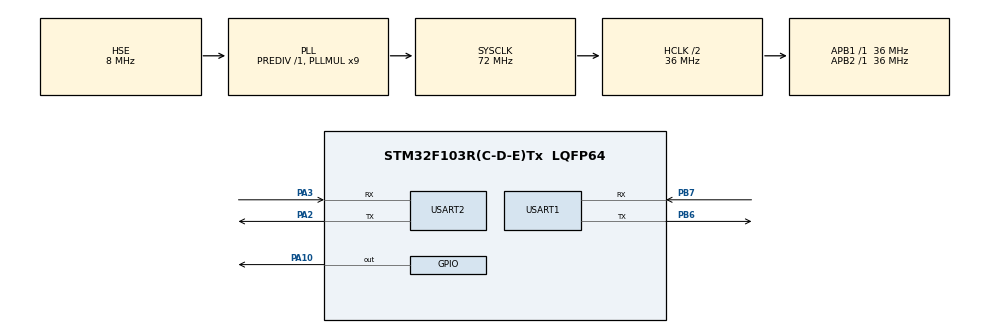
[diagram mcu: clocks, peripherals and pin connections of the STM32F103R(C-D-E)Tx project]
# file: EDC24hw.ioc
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Dma.Request0=USART1_RX
Dma.USART1_RX.0.Direction=DMA_PERIPH_TO_MEMORY
Dma.USART1_RX.0.Instance=DMA1_Channel5
Dma.USART1_RX.0.MemDataAlignment=DMA_MDATAALIGN_BYTE
Dma.USART1_RX.0.MemInc=DMA_MINC_ENABLE
Dma.USART1_RX.0.Mode=DMA_NORMAL
Dma.USART1_RX.0.PeriphDataAlignment=DMA_PDATAALIGN_BYTE
Dma.USART1_RX.0.PeriphInc=DMA_PINC_DISABLE
Dma.USART1_RX.0.Priority=DMA_PRIORITY_LOW
Mcu.Family=STM32F1
Mcu.Name=STM32F103R(C-D-E)Tx
Mcu.Package=LQFP64
NVIC.DMA1_Channel5_IRQn=true\:0\:0\:false\:false\:true\:false\:true\:true
NVIC.PriorityGroup=NVIC_PRIORITYGROUP_4
NVIC.USART1_IRQn=true\:0\:0\:false\:false\:true\:true\:true\:true
NVIC.USART2_IRQn=true\:0\:0\:false\:false\:true\:true\:true\:true
PA10.Signal=GPIO_Output
PA13.Mode=Serial_Wire
PA13.Signal=SYS_JTMS-SWDIO
PA14.Mode=Serial_Wire
PA14.Signal=SYS_JTCK-SWCLK
PA2.Mode=Asynchronous
PA2.Signal=USART2_TX
PA3.Mode=Asynchronous
PA3.Signal=USART2_RX
PB6.Mode=Asynchronous
PB6.Signal=USART1_TX
PB7.Mode=Asynchronous
PB7.Signal=USART1_RX
PD0-OSC_IN.Mode=HSE-External-Oscillator
PD0-OSC_IN.Signal=RCC_OSC_IN
PD1-OSC_OUT.Mode=HSE-External-Oscillator
PD1-OSC_OUT.Signal=RCC_OSC_OUT
ProjectManager.HeapSize=0x200
ProjectManager.StackSize=0x400
ProjectManager.TargetToolchain=MDK-ARM V5.32
RCC.AHBCLKDivider=RCC_SYSCLK_DIV2
RCC.AHBFreq_Value=36000000
RCC.APB1Freq_Value=36000000
RCC.APB1TimFreq_Value=36000000
RCC.APB2Freq_Value=36000000
RCC.APB2TimFreq_Value=36000000
RCC.HCLKFreq_Value=36000000
RCC.PLLMUL=RCC_PLL_MUL9
RCC.PLLSourceVirtual=RCC_PLLSOURCE_HSE
RCC.SYSCLKFreq_VALUE=72000000
RCC.SYSCLKSource=RCC_SYSCLKSOURCE_PLLCLK
RCC.USBFreq_Value=72000000
USART1.VirtualMode=VM_ASYNC
USART2.VirtualMode=VM_ASYNC
board=custom

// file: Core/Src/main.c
/* USER CODE BEGIN Header */
/**
  ******************************************************************************
  * @file           : main.c
  * @brief          : Main program body
  ******************************************************************************
  * @attention
  *
  * Copyright (c) 2023 STMicroelectronics.
  * All rights reserved.
  *
  * This software is licensed under terms that can be found in the LICENSE file
  * in the root directory of this software component.
  * If no LICENSE file comes with this software, it is provided AS-IS.
  *
  ******************************************************************************
  */
/* USER CODE END Header */
#include "main.h"
#include "dma.h"
#include "usart.h"
#include "gpio.h"

/* USER CODE BEGIN Includes */
#include <stdlib.h>
/* USER CODE END Includes */

/* USER CODE BEGIN PV */
uint8_t u2_RX_Buf[MAX_LEN];
uint8_t u2_RX_ReceiveBit;
int rx_len=0;
/* USER CODE END PV */

void SystemClock_Config(void);

/* USER CODE BEGIN 0 */
void jy62_Init(UART_HandleTypeDef* huart);
/* USER CODE END 0 */

int main(void)
{

  /* MCU Configuration--------------------------------------------------------*/

  /* Reset of all peripherals, Initializes the Flash interface and the Systick. */
  HAL_Init();

  /* Configure the system clock */
  SystemClock_Config();

  /* Initialize all configured peripherals */
  MX_GPIO_Init();
  MX_DMA_Init();
  MX_USART1_UART_Init();
  MX_USART2_UART_Init();
  /* USER CODE BEGIN 2 */
	HAL_UART_Receive_DMA(&huart1,u2_RX_Buf,RX_BUF_LEN);
  /* USER CODE END 2 */

  /* Infinite loop */
  /* USER CODE BEGIN WHILE */
	HAL_Delay(1000);
	srand(HAL_GetTick());
	while (1)
  {
    /* USER CODE END WHILE */

    /* USER CODE BEGIN 3 */
		uint8_t a=rand()%100;
		uint8_t b=rand()%100;
		uint8_t c=rand()%100;
		uint8_t d=rand()%100;
		u2_printf("A = (%d, %d)\n",a,b);
		u2_printf("B = (%d, %d)\n",c,d);
		uint8_t buf[4];
		buf[0]=a;
		buf[1]=b;
		buf[2]=c;
		buf[3]=d;
		HAL_UART_Transmit(&huart1, buf, 4, HAL_MAX_DELAY);
		HAL_Delay(3000);
  }
  /* USER CODE END 3 */
}

void SystemClock_Config(void)
{
  RCC_OscInitTypeDef RCC_OscInitStruct = {0};
  RCC_ClkInitTypeDef RCC_ClkInitStruct = {0};

  /** Initializes the RCC Oscillators according to the specified parameters
  * in the RCC_OscInitTypeDef structure.
  */
  RCC_OscInitStruct.OscillatorType = RCC_OSCILLATORTYPE_HSE;
  RCC_OscInitStruct.HSEState = RCC_HSE_ON;
  RCC_OscInitStruct.HSEPredivValue = RCC_HSE_PREDIV_DIV1;
  RCC_OscInitStruct.HSIState = RCC_HSI_ON;
  RCC_OscInitStruct.PLL.PLLState = RCC_PLL_ON;
  RCC_OscInitStruct.PLL.PLLSource = RCC_PLLSOURCE_HSE;
  RCC_OscInitStruct.PLL.PLLMUL = RCC_PLL_MUL9;
  if (HAL_RCC_OscConfig(&RCC_OscInitStruct) != HAL_OK)
  {
    Error_Handler();
  }

  /** Initializes the CPU, AHB and APB buses clocks
  */
  RCC_ClkInitStruct.ClockType = RCC_CLOCKTYPE_HCLK|RCC_CLOCKTYPE_SYSCLK
                              |RCC_CLOCKTYPE_PCLK1|RCC_CLOCKTYPE_PCLK2;
  RCC_ClkInitStruct.SYSCLKSource = RCC_SYSCLKSOURCE_PLLCLK;
  RCC_ClkInitStruct.AHBCLKDivider = RCC_SYSCLK_DIV2;
  RCC_ClkInitStruct.APB1CLKDivider = RCC_HCLK_DIV1;
  RCC_ClkInitStruct.APB2CLKDivider = RCC_HCLK_DIV1;

  if (HAL_RCC_ClockConfig(&RCC_ClkInitStruct, FLASH_LATENCY_2) != HAL_OK)
  {
    Error_Handler();
  }
}

void Error_Handler(void)
{
  __disable_irq();
  while (1)
  {
  }
}
